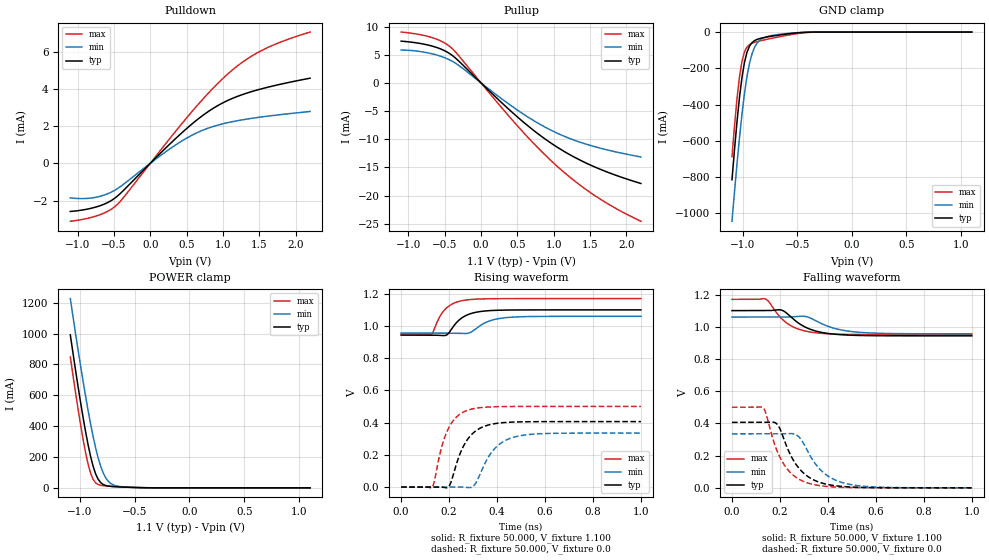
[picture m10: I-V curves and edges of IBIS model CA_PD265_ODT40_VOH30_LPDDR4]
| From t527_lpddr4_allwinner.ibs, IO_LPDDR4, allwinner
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|   Model CA_PD265_ODT40_VOH30_LPDDR4
[Model] CA_PD265_ODT40_VOH30_LPDDR4
Model_type 3-state
Polarity   Non-Inverting
Enable   Active-Low
C_comp   1.535pF   1.495pF   1.583pF
C_comp_pullup   0.521pF   0.503pF   0.541pF
C_comp_pulldown   0.816pF   0.798pF   0.844pF
[Temperature Range]   25.000   0.125k   -40.000
[Voltage Range]   1.100V   1.060V   1.170V
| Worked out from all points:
|   slope of the pulldown table from 0 to 0.165 V, typ, clamps not added: 257 ohm
|   slope of the pullup table from 0 to 0.165 V, typ, clamps not added: 80.1 ohm
|   GND clamp passes 1 mA (typ) near -0.41 V on its own axis
|   POWER clamp passes 1 mA (typ) near -0.43 V on its own axis
|   rising waveform, R_fixture 50.000, V_fixture 1.100: 20-80 % time 68.2ps typ, 79.5ps min, 59.5ps max; typ from 0.943 V to 1.1 V
|   rising waveform, R_fixture 50.000, V_fixture 0.0: 20-80 % time 74.7ps typ, 86.6ps min, 64.3ps max; typ from 0 V to 0.406 V
|   falling waveform, R_fixture 50.000, V_fixture 1.100: 20-80 % time 106ps typ, 120ps min, 93.5ps max; typ from 1.1 V to 0.943 V
|   falling waveform, R_fixture 50.000, V_fixture 0.0: 20-80 % time 95.4ps typ, 105ps min, 87.5ps max; typ from 0.406 V to 0 V
[Pulldown]
|Voltage   I(typ)   I(min)   I(max)
-1.1V     -2.583mA   -1.855mA   -3.111mA
-930mV    -2.503mA   -1.893mA   -3.008mA
-760mV    -2.36mA    -1.83mA    -2.848mA
-590mV    -2.113mA   -1.639mA   -2.585mA
-454mV    -1.765mA   -1.363mA   -2.21mA
396mV     1.503mA    1.108mA    1.946mA
668mV     2.412mA    1.688mA    3.204mA
940mV     3.126mA    2.064mA    4.336mA
1.212V    3.615mA    2.3mA      5.27mA
1.484V    3.954mA    2.467mA    5.96mA
1.79V     4.247mA    2.617mA    6.508mA
2.2V      4.576mA    2.787mA    7.054mA
[Pullup]
|Voltage   I(typ)   I(min)   I(max)
-1.1V     7.428mA    5.851mA    9.045mA
-690mV    6.608mA    5.228mA    8.118mA
-520mV    5.839mA    4.581mA    7.239mA
-418mV    5.091mA    3.997mA    6.347mA
-282mV    3.584mA    2.878mA    4.448mA
466mV     -5.65mA    -4.511mA   -7.12mA
738mV     -8.578mA   -6.799mA   -10.94mA
1.01V     -11.09mA   -8.694mA   -14.37mA
1.282V    -13.17mA   -10.16mA   -17.36mA
1.554V    -14.86mA   -11.28mA   -19.91mA
1.86V     -16.42mA   -12.26mA   -22.33mA
2.2V      -17.86mA   -13.16mA   -24.57mA
[GND_clamp]
|Voltage   I(typ)   I(min)   I(max)
-1.1V     -814.2mA   -1.043A    -687.2mA
-1.054V   -495mA     -726.6mA   -368.4mA
-1.031V   -359.8mA   -581.8mA   -246.6mA
-1.008V   -248.8mA   -450.8mA   -160.4mA
-985mV    -166.1mA   -337.2mA   -108.9mA
-962mV    -110.9mA   -243.9mA   -82mA
-939mV    -77.34mA   -172mA     -68.54mA
-893mV    -47.19mA   -84.42mA   -56.41mA
-847mV    -36.11mA   -45.88mA   -49.32mA
-709mV    -20.5mA    -16.45mA   -31.34mA
-364mV    -357.3uA   -448.4uA   -961.5uA
1.1V      0A         0A         0A
[POWER_clamp]
|Voltage   I(typ)   I(min)   I(max)
-1.085V   991.5mA    1.227A     848.5mA
-1.016V   664.1mA    901.8mA    518.1mA
-970mV    462mA      696.7mA    319.4mA
-924mV    282.7mA    505.5mA    156.2mA
-901mV    206.2mA    417.2mA    96.77mA
-855mV    91.54mA    261mA      33.12mA
-809mV    34.38mA    141.1mA    16.55mA
-763mV    15.18mA    65.46mA    12.33mA
-717mV    9.406mA    28.28mA    10.15mA
-625mV    5.459mA    7.413mA    6.616mA
-441mV    1.153mA    1.563mA    1.234mA
1.1V      0A         0A         0A
[Ramp]
| variable   typ   min   max
dV/dt_r   0.244/74.750p   0.201/86.640p   0.300/64.378p
dV/dt_f   93.994m/0.106n   62.406m/0.120n   0.131/93.562p
R_load = 50.000
[Rising Waveform]
R_fixture= 50.000
V_fixture= 1.100
V_fixture_min= 1.060
V_fixture_max= 1.170
|time   V(typ)   V(min)   V(max)
0s        943.3mV    956mV      951.1mV
126ps     943.5mV    956mV      948.4mV
161ps     941.8mV    955.9mV    1.058V
185ps     941.6mV    956mV      1.106V
219ps     999.2mV    954.9mV    1.141V
267ps     1.063V     953mV      1.16V
292ps     1.078V     962.3mV    1.165V
361ps     1.095V     1.027V     1.169V
436ps     1.099V     1.052V     1.17V
1ns       1.1V       1.06V      1.17V
[Rising Waveform]
R_fixture= 50.000
V_fixture= 0.0
V_fixture_min= 0.0
V_fixture_max= 0.0
|time   V(typ)   V(min)   V(max)
0s        3.87uV     87.88uV    305.4nV
130ps     299.5uV    95.19uV    90.67uV
167ps     -259.9uV   80.59uV    237.4mV
193ps     -3.735mV   306.1uV    350.7mV
229ps     135.2mV    333.3uV    432.2mV
279ps     300mV      -3.183mV   477.6mV
308ps     345mV      17.21mV    488.4mV
388ps     393mV      235.1mV    498.3mV
467ps     403.4mV    308.4mV    500mV
1ns       406.3mV    335mV      500.4mV
[Falling Waveform]
R_fixture= 50.000
V_fixture= 1.100
V_fixture_min= 1.060
V_fixture_max= 1.170
|time   V(typ)   V(min)   V(max)
0s        1.1V       1.06V      1.17V
139ps     1.1V       1.06V      1.172V
154ps     1.1V       1.06V      1.154V
201ps     1.105V     1.06V      1.06V
230ps     1.082V     1.06V      1.021V
282ps     1.018V     1.065V     982.9mV
335ps     979.8mV    1.048V     965.2mV
419ps     954.9mV    993.3mV    955mV
518ps     946.3mV    967mV      951.9mV
1ns       943.3mV    956mV      951.1mV
[Falling Waveform]
R_fixture= 50.000
V_fixture= 0.0
V_fixture_min= 0.0
V_fixture_max= 0.0
|time   V(typ)   V(min)   V(max)
0s        406.3mV    335mV      500.4mV
131ps     406.2mV    335mV      494.7mV
182ps     402.8mV    334.9mV    252.6mV
211ps     325.6mV    335.6mV    159mV
241ps     213.4mV    337.2mV    98.65mV
272ps     135.2mV    325.5mV    60.28mV
314ps     72.78mV    232mV      30.96mV
384ps     25.99mV    91.23mV    10.22mV
480ps     6.354mV    24.78mV    2.237mV
1ns       6.951uV    109.2uV    898nV
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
